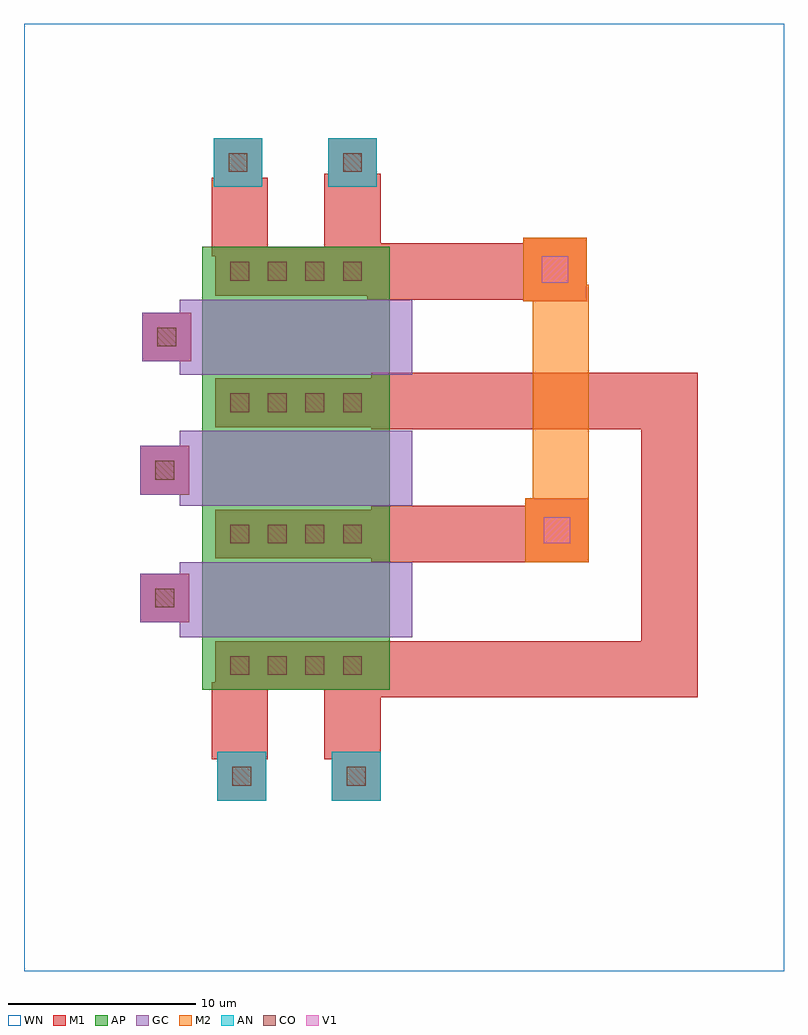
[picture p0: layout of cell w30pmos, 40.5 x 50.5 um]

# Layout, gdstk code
from math import pi, radians
import gdstk
lib = gdstk.Library(unit=1e-6, precision=1e-07)
def R(c, l, rs):  # rectangles x0, y0, x1, y1
    for r in rs: c.add(gdstk.rectangle(r[:2], r[2:], *l))
def A(c, l, x, y, w, h, nx, ny, dx, dy):  # array of equal rectangles
    R(c, l, [(x+i*dx, y+j*dy, x+i*dx+w, y+j*dy+h) for i in range(nx) for j in range(ny)])
AP = (3, 1)
AN = (3, 2)
GC = (8, 1)
CO = (11, 0)
M1 = (13, 0)
V1 = (19, 0)
M2 = (20, 0)
WN = (140, 0)

cont_n = lib.new_cell('cont_n')
R(cont_n, AN, [(-1.3,-1.3,1.3,1.3)])
R(cont_n, CO, [(-0.5,-0.5,0.5,0.5)])
R(cont_n, M1, [(-1.3,-1.3,1.3,1.3)])

via_1 = lib.new_cell('via_1')
R(via_1, M1, [(-1.7,-1.7,1.7,1.7)])
R(via_1, V1, [(-0.7,-0.7,0.7,0.7)])
R(via_1, M2, [(-1.7,-1.7,1.7,1.7)])

cont_g = lib.new_cell('cont_g')
R(cont_g, GC, [(-1.3,-1.3,1.3,1.3)])
R(cont_g, CO, [(-0.5,-0.5,0.5,0.5)])
R(cont_g, M1, [(-1.3,-1.3,1.3,1.3)])

fet_p = lib.new_cell('fet_p')
R(fet_p, AP, [(-11.8,-5,11.8,5)])
A(fet_p, CO, -11, -3.5, 1, 1, 4, 4, 7, 2)
A(fet_p, M1, -11.8, -4.3, 2.6, 8.6, 4, 1, 7, 0)
fet_p.add(gdstk.FlexPath([(0,-6.2),(0,6.2)], 4, ends="flush", simple_path=True, layer=8, datatype=1))  # GC
fet_p.add(gdstk.FlexPath([(-7,-6.2),(-7,6.2)], 4, ends="flush", simple_path=True, layer=8, datatype=1))  # GC
fet_p.add(gdstk.FlexPath([(7,-6.2),(7,6.2)], 4, ends="flush", simple_path=True, layer=8, datatype=1))  # GC

w30pmos = lib.new_cell('w30pmos')
R(w30pmos, WN, [(-135.7,-45.4,-95.2,5.1)])
w30pmos.add(gdstk.FlexPath([(-117.4,-8.1),(-108.5,-8.1)], 3, ends="flush", simple_path=True, layer=13, datatype=0))  # M1
w30pmos.add(gdstk.FlexPath([(-117.2,-22.1),(-108.5,-22.1)], 3, ends="flush", simple_path=True, layer=13, datatype=0))  # M1
w30pmos.add(gdstk.FlexPath([(-117.2,-15),(-101.3,-15),(-101.3,-29.3),(-117.2,-29.3)], 3, ends="flush", simple_path=True, layer=13, datatype=0))  # M1
w30pmos.add(gdstk.FlexPath([(-124.2,-7.3),(-124.2,-3.1)], 3, ends="flush", simple_path=True, layer=13, datatype=0))  # M1
w30pmos.add(gdstk.FlexPath([(-118.2,-7.2),(-118.2,-2.9)], 3, ends="flush", simple_path=True, layer=13, datatype=0))  # M1
w30pmos.add(gdstk.FlexPath([(-124.2,-30),(-124.2,-34.1)], 3, ends="flush", simple_path=True, layer=13, datatype=0))  # M1
w30pmos.add(gdstk.FlexPath([(-118.2,-30),(-118.2,-34.1)], 3, ends="flush", simple_path=True, layer=13, datatype=0))  # M1
w30pmos.add(gdstk.FlexPath([(-107.1,-8.8),(-107.1,-21.5)], 3, ends="flush", simple_path=True, layer=20, datatype=0))  # M2
w30pmos.add(gdstk.FlexPath([(-128.6,-10.8),(-128.6,-26.3)], 1.8, ends="flush", simple_path=True, layer=140, datatype=0))  # WN
w30pmos.add(gdstk.Reference(cont_n, (-118,-35)))
w30pmos.add(gdstk.Reference(cont_n, (-124.1,-35)))
w30pmos.add(gdstk.Reference(cont_n, (-118.2,-2.3)))
w30pmos.add(gdstk.Reference(cont_n, (-124.3,-2.3)))
w30pmos.add(gdstk.Reference(via_1, (-107.3,-21.9)))
w30pmos.add(gdstk.Reference(via_1, (-107.4,-8)))
w30pmos.add(gdstk.Reference(cont_g, (-128.2,-25.5)))
w30pmos.add(gdstk.Reference(cont_g, (-128.2,-18.7)))
w30pmos.add(gdstk.Reference(cont_g, (-128.1,-11.6)))
w30pmos.add(gdstk.Reference(fet_p, (-121.2,-18.6), rotation=3*pi/2))

lib.write_gds('w30pmos.gds')
